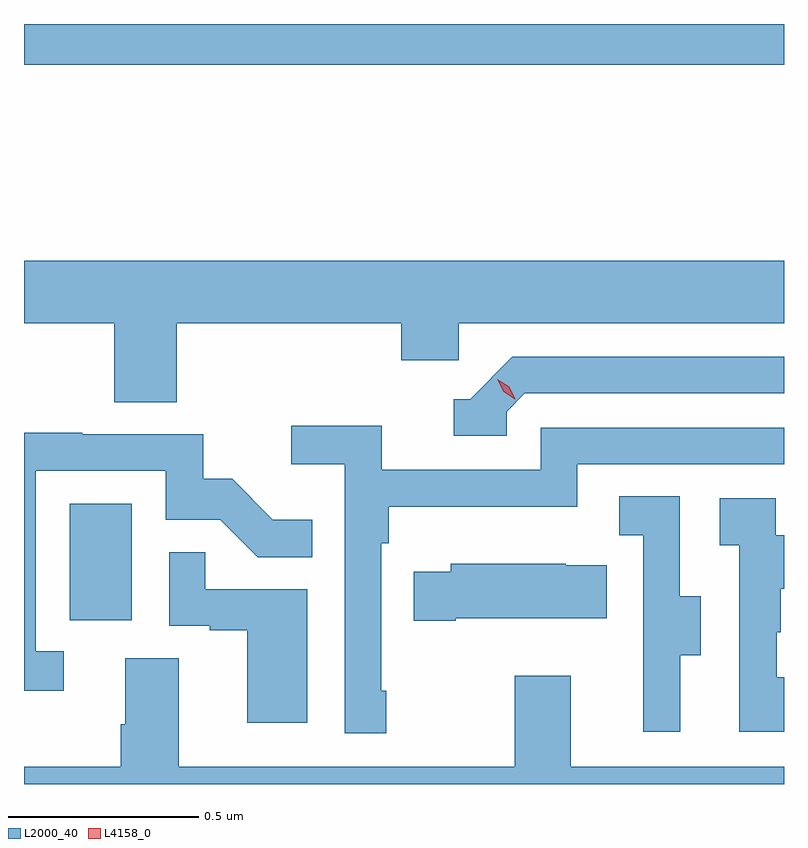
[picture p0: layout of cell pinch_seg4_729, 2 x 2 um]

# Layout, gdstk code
import gdstk
lib = gdstk.Library(unit=1e-6, precision=1e-09)
def R(c, l, rs):  # rectangles x0, y0, x1, y1
    for r in rs: c.add(gdstk.rectangle(r[:2], r[2:], *l))
def P(c, l, *ps):  # polygons
    for p in ps: c.add(gdstk.Polygon(p, *l))
L2000_40 = (2000, 40)
L4158_0 = (4158, 0)

pinch_seg4_729 = lib.new_cell('pinch_seg4_729')
R(pinch_seg4_729, L2000_40, [(852.41,822.678,852.574,822.985), (852.29,824.14,854.29,824.247)])
P(pinch_seg4_729, L2000_40, [(852.692,823.46),(853.283,823.46),(853.283,823.362),(853.434,823.362),(853.434,823.46),(854.29,823.46),(854.29,823.624),(852.29,823.624),(852.29,823.46),(852.527,823.46),(852.527,823.252),(852.692,823.252)],
  [(853.56,823.227),(853.608,823.275),(854.29,823.275),(854.29,823.371),(853.575,823.371),(853.464,823.26),(853.421,823.26),(853.421,823.164),(853.56,823.164)],
  [(853.243,822.493),(853.23,822.493),(853.23,822.881),(853.25,822.881),(853.25,822.977),(853.746,822.977),(853.746,823.089),(854.29,823.089),(854.29,823.185),(853.65,823.185),(853.65,823.074),(853.232,823.074),(853.232,823.19),(852.993,823.19),(852.993,823.088),(853.134,823.088),(853.134,822.381),(853.243,822.381)],
  [(852.394,822.597),(852.321,822.597),(852.321,823.071),(852.663,823.071),(852.663,822.942),(852.807,822.942),(852.905,822.844),(853.049,822.844),(853.049,822.943),(852.945,822.943),(852.838,823.05),(852.762,823.05),(852.762,823.167),(852.443,823.167),(852.443,823.172),(852.29,823.172),(852.29,822.492),(852.394,822.492)],
  [(854.017,822.586),(854.071,822.586),(854.071,822.741),(854.016,822.741),(854.016,823.004),(853.857,823.004),(853.857,822.901),(853.92,822.901),(853.92,822.597),(853.919,822.597),(853.919,822.384),(854.017,822.384)],
  [(854.29,822.528),(854.271,822.528),(854.271,822.647),(854.281,822.647),(854.281,822.761),(854.29,822.761),(854.29,822.901),(854.268,822.901),(854.268,822.999),(854.121,822.999),(854.121,822.875),(854.172,822.875),(854.172,822.384),(854.29,822.384)],
  [(853.036,822.759),(852.767,822.759),(852.767,822.857),(852.672,822.857),(852.672,822.663),(852.779,822.663),(852.779,822.651),(852.878,822.651),(852.878,822.408),(853.036,822.408)],
  [(853.426,822.683),(853.823,822.683),(853.823,822.823),(853.715,822.823),(853.715,822.826),(853.413,822.826),(853.413,822.805),(853.315,822.805),(853.315,822.676),(853.426,822.676)],
  [(854.29,822.292),(853.729,822.292),(853.729,822.532),(853.582,822.532),(853.582,822.292),(852.697,822.292),(852.697,822.578),(852.557,822.578),(852.557,822.404),(852.545,822.404),(852.545,822.292),(852.29,822.292),(852.29,822.247),(854.29,822.247)])
P(pinch_seg4_729, L4158_0, [(853.582,823.26),(853.552,823.279),(853.536,823.312),(853.536,823.312),(853.536,823.312),(853.567,823.293),(853.583,823.26),(853.583,823.26)])

lib.write_gds('pinch_seg4_729.gds')
